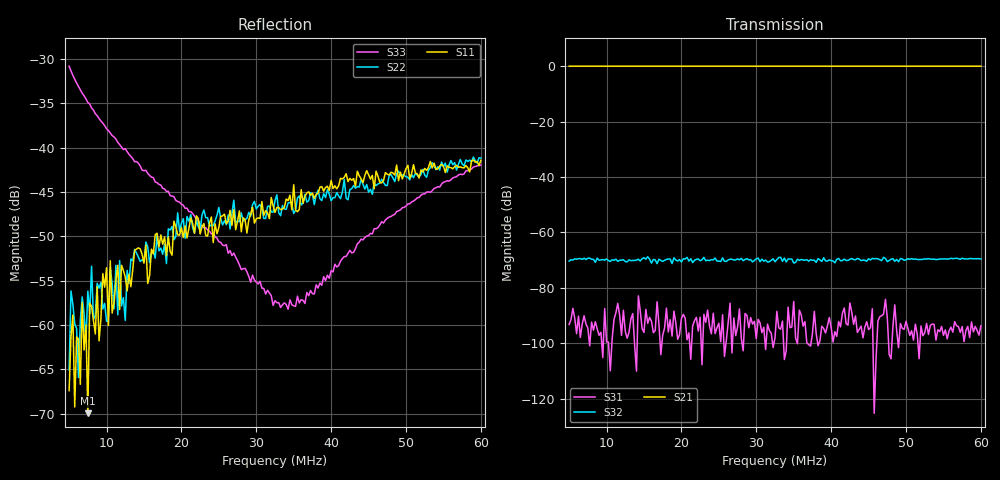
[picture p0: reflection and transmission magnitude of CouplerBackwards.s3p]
#  HZ  S  DB  R  50.00
! Rohde & Schwarz ZVT8 8Ports - Version 4.11 - 1300.0000k08 SN: 100242
! Date: 2023-12-01 11:25:07
! Measurements: S11 S12 S13 S21 S22 S23 S31 S32 S33
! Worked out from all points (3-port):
!   221 points, 5 MHz to 60 MHz, reference 50 ohm
!   strongest paths, dB at 5 MHz, 18.75 MHz, 32.5 MHz, 46.25 MHz, 60 MHz:
!     S21: 0.0, 0.0, 0.0, 0.0, 0.0
!     S32: -70.4, -71.3, -70.6, -69.6, -69.6
!     S31: -93.3, -97.5, -98.1, -92.0, -93.7
!   lowest |S11| = -69.9 dB at 7.5 MHz (marker M1), VSWR 1.00, Z = 50 + j0.00539 ohm
!   |S11| at or under -10 dB: start of sweep to end of sweep
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5000000  -67.39 18.3  -0.01 -2.2  -101.22 51.5
         -0.02 -2.2  -65.04 -85.6  -69.91 10.0
         -93.25 167.2  -70.36 9.4  -30.83 102.9
5500000  -58.88 -54.0  -0.02 -2.4  -96.69 80.7
         -0.02 -2.4  -57.67 -59.1  -69.64 7.3
         -87.43 -149.7  -70.01 6.9  -31.86 101.0
5750000  -69.24 -14.4  -0.01 -2.5  -96.78 -16.0
         -0.02 -2.5  -59.87 -66.8  -69.65 8.5
         -91.00 -44.6  -69.57 7.4  -32.32 99.6
6500000  -66.68 -89.1  -0.02 -2.8  -100.30 -125.4
         -0.02 -2.8  -59.42 -47.8  -69.51 5.9
         -97.92 -137.6  -69.48 4.2  -33.49 96.7
6750000  -57.45 -30.5  -0.02 -3.0  -92.33 -142.1
         -0.02 -2.9  -56.82 -48.9  -69.60 6.0
         -93.10 136.9  -69.76 2.4  -33.88 96.1
7500000  -69.94 9.7  -0.02 -3.3  -96.78 0.2
         -0.02 -3.2  -56.18 -67.1  -69.19 -0.6
         -94.53 130.4  -69.36 -0.2  -34.93 93.2
7750000  -57.54 -70.0  -0.02 -3.3  -95.74 -119.5
         -0.02 -3.3  -58.74 -77.4  -69.45 0.4
         -100.96 -16.1  -69.31 6.4  -35.09 92.6
1.05e7  -52.75 -77.1  -0.02 -4.5  -98.95 177.3
        -0.02 -4.5  -53.50 -78.2  -69.94 -0.2
        -109.98 -46.5  -70.51 1.9  -38.36 84.5
3.25e7  -47.30 -91.9  -0.01 -13.8  -96.02 170.6
        -0.01 -13.8  -45.99 -84.4  -69.67 -9.2
        -98.14 154.5  -70.60 -10.1  -57.25 -9.4
6e7  -41.44 -101.7  -0.02 -25.4  -94.64 96.5
     -0.02 -25.5  -41.19 -94.0  -69.50 -20.4
     -93.75 126.2  -69.62 -20.0  -41.97 -131.7
